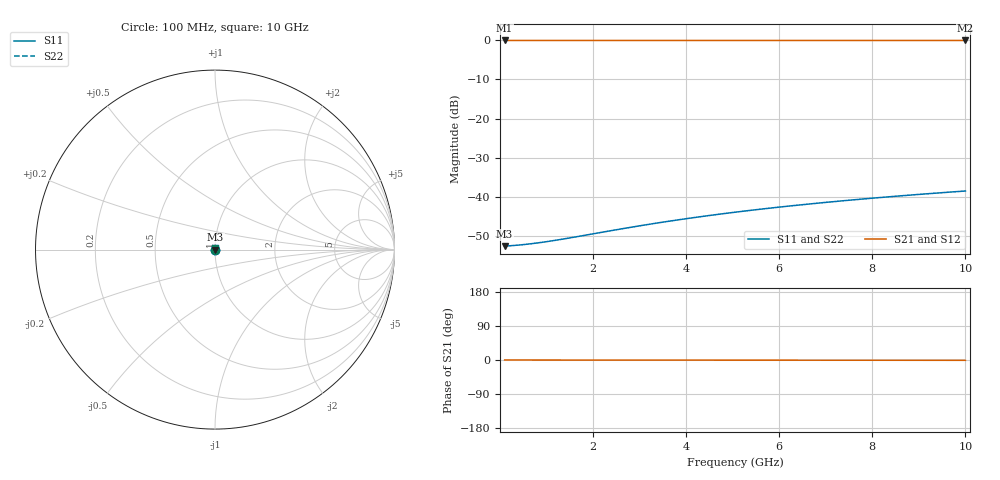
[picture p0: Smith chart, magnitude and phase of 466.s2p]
# Hz S RI R 50.00
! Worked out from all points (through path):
!   100 points, 100 MHz to 10 GHz, reference 50 ohm
!   highest |S21| = -0.02 dB at 100 MHz (marker M1); lowest = 0.0 dB at 10 GHz (marker M2)
!   lowest |S11| = -52.6 dB at 100 MHz (marker M3), VSWR 1.00, Z = 50.2 + j0.0116 ohm
!   |S11| at or under -10 dB: start of sweep to end of sweep
!   |S22| runs from -52.6 to -38.5 dB; largest |S21 - S12| = 0
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1e8  0.00233 0.000115  0.9977 -0.000139  0.9977 -0.000139  0.00233 0.000115
3e8  0.00236 0.000346  0.9976 -0.000417  0.9976 -0.000417  0.00236 0.000346
5e8  0.00238 0.000577  0.9976 -0.000694  0.9976 -0.000694  0.00238 0.000577
8e8  0.0024 0.000922  0.9976 -0.00111  0.9976 -0.00111  0.0024 0.000922
1e9  0.00241 0.00115  0.9976 -0.00139  0.9976 -0.00139  0.00241 0.00115
1.2e9  0.00241 0.00138  0.9976 -0.00167  0.9976 -0.00167  0.00241 0.00138
1.5e9  0.00243 0.00173  0.9976 -0.00208  0.9976 -0.00208  0.00243 0.00173
1.8e9  0.00244 0.00208  0.9976 -0.0025  0.9976 -0.0025  0.00244 0.00208
2.7e9  0.00246 0.00311  0.9975 -0.00375  0.9975 -0.00375  0.00246 0.00311
3.1e9  0.00248 0.00357  0.9975 -0.00431  0.9975 -0.00431  0.00248 0.00357
3.4e9  0.00248 0.00392  0.9975 -0.00472  0.9975 -0.00472  0.00248 0.00392
3.8e9  0.0025 0.00438  0.9975 -0.00528  0.9975 -0.00528  0.0025 0.00438
4.2e9  0.00251 0.00484  0.9975 -0.00583  0.9975 -0.00583  0.00251 0.00484
4.6e9  0.00252 0.00531  0.9975 -0.00639  0.9975 -0.00639  0.00252 0.00531
5.1e9  0.00253 0.00588  0.9975 -0.00709  0.9975 -0.00709  0.00253 0.00588
5.5e9  0.00254 0.00634  0.9975 -0.00764  0.9975 -0.00764  0.00254 0.00634
5.9e9  0.00256 0.00681  0.9974 -0.0082  0.9974 -0.0082  0.00256 0.00681
6.7e9  0.00258 0.00773  0.9974 -0.00931  0.9974 -0.00931  0.00258 0.00773
7.5e9  0.00261 0.00865  0.9974 -0.0104  0.9974 -0.0104  0.00261 0.00865
8.4e9  0.00264 0.00969  0.9974 -0.0117  0.9974 -0.0117  0.00264 0.00969
9.2e9  0.00267 0.0106  0.9973 -0.0128  0.9973 -0.0128  0.00267 0.0106
1e10  0.0027 0.0115  0.9973 -0.0139  0.9973 -0.0139  0.0027 0.0115
